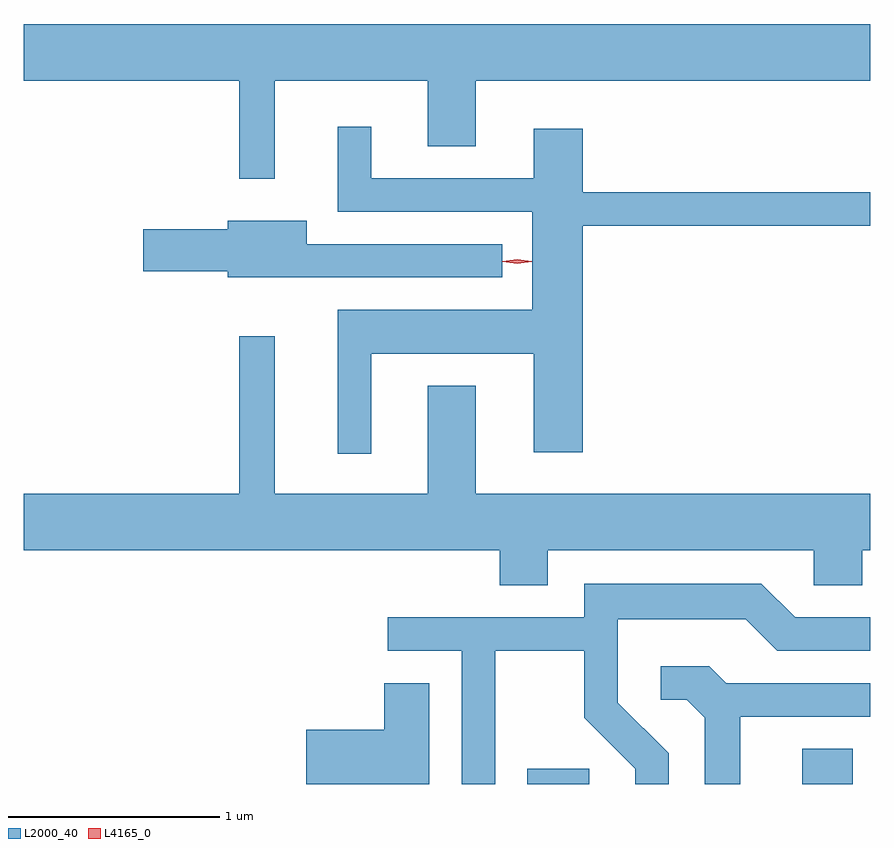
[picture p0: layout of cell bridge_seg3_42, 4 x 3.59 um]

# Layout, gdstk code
import gdstk
lib = gdstk.Library(unit=1e-6, precision=1e-09)
def R(c, l, rs):  # rectangles x0, y0, x1, y1
    for r in rs: c.add(gdstk.rectangle(r[:2], r[2:], *l))
def P(c, l, *ps):  # polygons
    for p in ps: c.add(gdstk.Polygon(p, *l))
L2000_40 = (2000, 40)
L4165_0 = (4165, 0)

bridge_seg3_42 = lib.new_cell('bridge_seg3_42')
R(bridge_seg3_42, L2000_40, [(1180.191,1184.852,1180.484,1184.924), (1181.491,1184.852,1181.729,1185.019)])
P(bridge_seg3_42, L2000_40, [(1178.999,1188.176),(1179.721,1188.176),(1179.721,1187.866),(1179.949,1187.866),(1179.949,1188.176),(1181.812,1188.176),(1181.812,1188.444),(1177.812,1188.444),(1177.812,1188.176),(1178.831,1188.176),(1178.831,1187.713),(1178.999,1187.713)],
  [(1179.454,1186.886),(1180.221,1186.886),(1180.221,1186.421),(1180.454,1186.421),(1180.454,1187.491),(1181.812,1187.491),(1181.812,1187.649),(1180.454,1187.649),(1180.454,1187.949),(1180.221,1187.949),(1180.221,1187.714),(1179.454,1187.714),(1179.454,1187.958),(1179.296,1187.958),(1179.296,1187.556),(1180.216,1187.556),(1180.216,1187.094),(1179.296,1187.094),(1179.296,1186.413),(1179.454,1186.413)],
  [(1180.073,1187.404),(1179.149,1187.404),(1179.149,1187.514),(1178.776,1187.514),(1178.776,1187.474),(1178.376,1187.474),(1178.376,1187.276),(1178.776,1187.276),(1178.776,1187.246),(1180.073,1187.246)],
  [(1180.289,1185.956),(1181.546,1185.956),(1181.546,1185.791),(1181.774,1185.791),(1181.774,1185.956),(1181.812,1185.956),(1181.812,1186.224),(1179.949,1186.224),(1179.949,1186.734),(1179.721,1186.734),(1179.721,1186.224),(1178.999,1186.224),(1178.999,1186.968),(1178.831,1186.968),(1178.831,1186.224),(1177.812,1186.224),(1177.812,1185.956),(1180.061,1185.956),(1180.061,1185.791),(1180.289,1185.791)],
  [(1180.039,1185.481),(1180.461,1185.481),(1180.461,1185.164),(1180.701,1184.924),(1180.701,1184.852),(1180.859,1184.852),(1180.859,1184.997),(1180.619,1185.237),(1180.619,1185.631),(1181.224,1185.631),(1181.374,1185.481),(1181.812,1185.481),(1181.812,1185.639),(1181.457,1185.639),(1181.297,1185.799),(1180.461,1185.799),(1180.461,1185.639),(1179.533,1185.639),(1179.533,1185.481),(1179.881,1185.481),(1179.881,1184.852),(1180.039,1184.852)],
  [(1181.199,1185.171),(1181.812,1185.171),(1181.812,1185.329),(1181.132,1185.329),(1181.052,1185.409),(1180.823,1185.409),(1180.823,1185.251),(1180.944,1185.251),(1181.031,1185.164),(1181.031,1184.852),(1181.199,1184.852)],
  [(1179.729,1185.329),(1179.516,1185.329),(1179.516,1185.109),(1179.146,1185.109),(1179.146,1184.852),(1179.729,1184.852)])
P(bridge_seg3_42, L4165_0, [(1180.143,1187.312),(1180.074,1187.321),(1180.074,1187.322),(1180.074,1187.322),(1180.144,1187.331),(1180.212,1187.322),(1180.213,1187.321),(1180.212,1187.321)],
  [(1180.143,1187.312),(1180.078,1187.322),(1180.077,1187.322),(1180.078,1187.323),(1180.143,1187.332),(1180.209,1187.323),(1180.209,1187.322),(1180.209,1187.322)])

lib.write_gds('bridge_seg3_42.gds')
